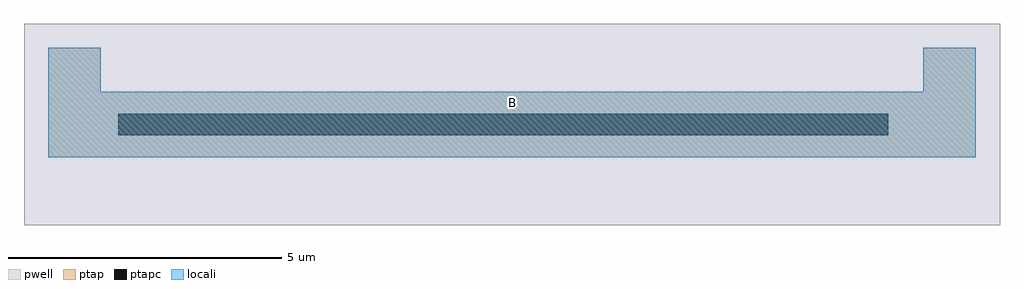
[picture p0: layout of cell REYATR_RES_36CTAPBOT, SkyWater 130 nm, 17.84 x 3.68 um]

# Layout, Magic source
magic
tech sky130A
magscale 1 2
<< ptap >>
rect -96 120 3296 200
rect -96 200 3296 280
rect -96 280 3296 360
rect -96 360 96 440
rect 3104 360 3296 440
rect -96 440 96 520
rect 3104 440 3296 520
<< locali >>
rect -96 120 3296 200
rect -96 200 3296 280
rect -96 280 3296 360
rect -96 280 3296 360
rect -96 360 96 440
rect 3104 360 3296 440
rect -96 440 96 520
rect 3104 440 3296 520
<< ptapc >>
rect 160 200 2976 280
<< pwell >>
rect -184 -128 3384 608
<< labels >>
flabel locali s -96 280 3296 360 0 FreeSans 400 0 0 0 B
<< properties >>
string FIXED_BBOX 0 0 3200 480
<< end >>
